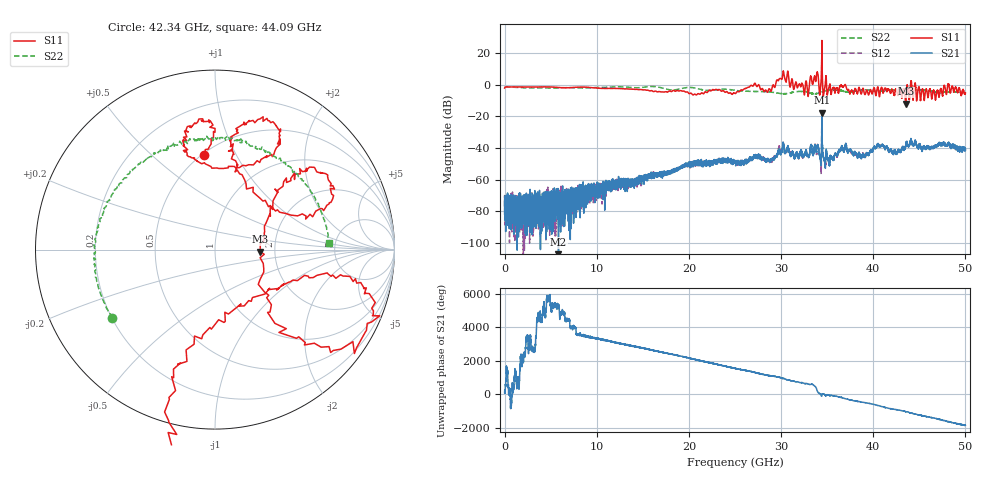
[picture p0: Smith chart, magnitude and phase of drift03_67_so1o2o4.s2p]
!Created with skrf (http://scikit-rf.org).
# Hz S RI R 50.0
!freq ReS11 ImS11 ReS21 ImS21 ReS12 ImS12 ReS22 ImS22
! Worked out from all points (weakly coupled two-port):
!   10000 points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, 5.3 MHz to 50 GHz, reference 50 ohm
!   highest |S21| = -17.70 dB at 34.43 GHz (marker M1); lowest = -110.8 dB at 5.85 GHz (marker M2)
!   lowest |S11| = -12.0 dB at 43.52 GHz (marker M3), VSWR 1.68, Z = 83.7 - j2 ohm
!   |S11| at or under -10 dB: 43.48666 GHz to 43.55573 GHz (69.06 MHz wide, 0.159 % of centre); 44.70305 GHz to 44.70874 GHz (5.689 MHz wide, 0.0127 % of centre); 45.53975 GHz to 45.54014 GHz (391.9 kHz wide, 0.000861 % of centre)
!   |S22| runs from -5.8 to -1.1 dB; largest |S21 - S12| = 0.026
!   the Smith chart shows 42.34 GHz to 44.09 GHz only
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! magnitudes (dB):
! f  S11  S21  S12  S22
! 5.3 MHz  -2.1  -72.8  -77.0  -1.3
! 5.85 GHz  -1.7  -110.8  -74.5  -2.0
! 8.34 GHz  -1.5  -64.9  -69.6  -2.1
! 16.67 GHz  -4.4  -56.0  -56.2  -1.5
! 20.14 GHz  -5.5  -49.9  -49.1  -1.7
! 25.01 GHz  -5.5  -48.8  -48.9  -3.5
! 27.02 GHz  -0.3  -46.5  -46.3  -4.2
! 28.72 GHz  -2.5  -48.4  -47.9  -4.5
! 30.14 GHz  4.4  -40.3  -40.7  -5.7
! 32.74 GHz  2.0  -42.2  -42.0  -4.6
! 33.34 GHz  2.6  -39.5  -40.5  -5.5
! 33.82 GHz  4.0  -42.6  -42.0  -5.6
! 34.43 GHz  28.0  -17.7  -18.8  -4.6
! 35.29 GHz  0.3  -49.1  -47.3  -3.4
! 36.84 GHz  -0.8  -41.9  -41.6  -4.1
! 38.87 GHz  -2.4  -43.6  -42.9  -3.2
! 40.61 GHz  -4.9  -37.9  -38.3  -4.0
! 41.67 GHz  -2.9  -42.3  -42.4  -3.3
! 43.52 GHz  -12.0  -38.6  -38.9  -4.0
! 46.94 GHz  -3.7  -38.1  -38.7  -4.9
! 48.33 GHz  -4.6  -38.8  -38.4  -4.6
! 50 GHz  -5.3  -40.6  -41.1  -4.5
